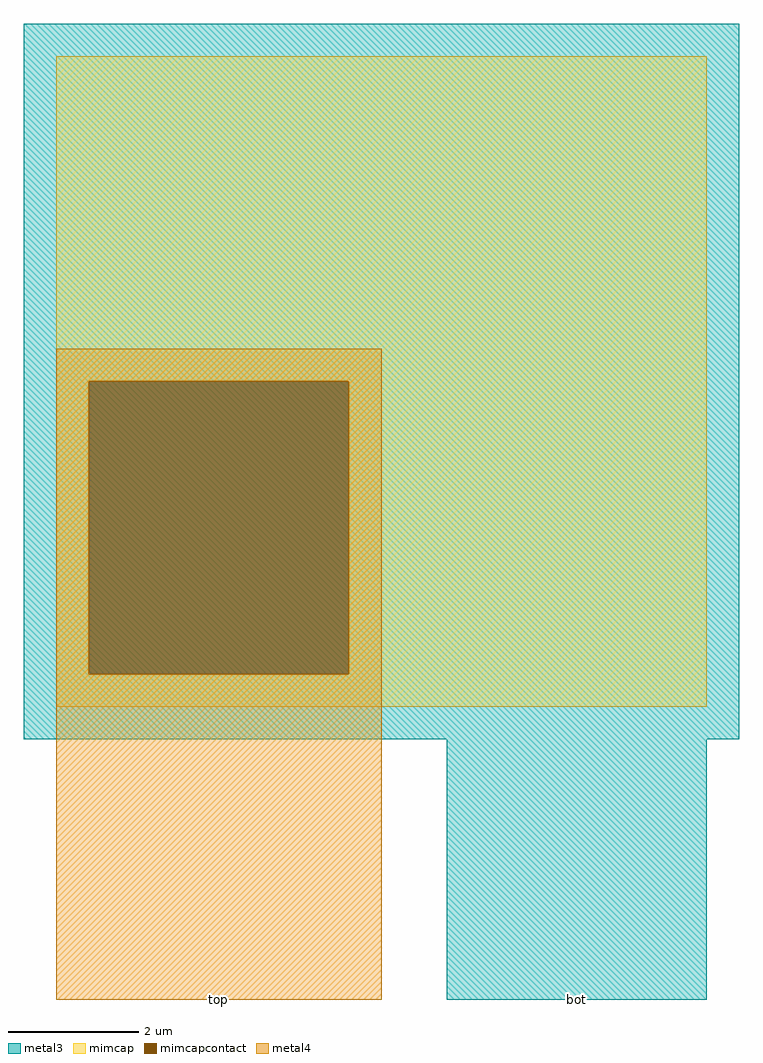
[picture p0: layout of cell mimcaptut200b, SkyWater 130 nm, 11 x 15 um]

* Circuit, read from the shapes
.subckt mimcaptut200b bot top
XC1 top bot sky130_fd_pr__cap_mim_m3_1 w=10 l=10
.ends

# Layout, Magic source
magic
tech sky130A
<< metal3 >>
rect -1050 -450 50 650
rect -400 -850 0 -450
<< mimcap >>
rect -1000 100 0 600
rect -1000 -350 -950 100
rect -550 -350 0 100
rect -1000 -400 0 -350
<< mimcapcontact >>
rect -950 -350 -550 100
<< metal4 >>
rect -1000 100 -500 150
rect -1000 -350 -950 100
rect -550 -350 -500 100
rect -1000 -850 -500 -350
<< labels >>
rlabel metal4 -750 -850 -750 -850 5 top
rlabel metal3 -200 -850 -200 -850 5 bot
<< end >>
